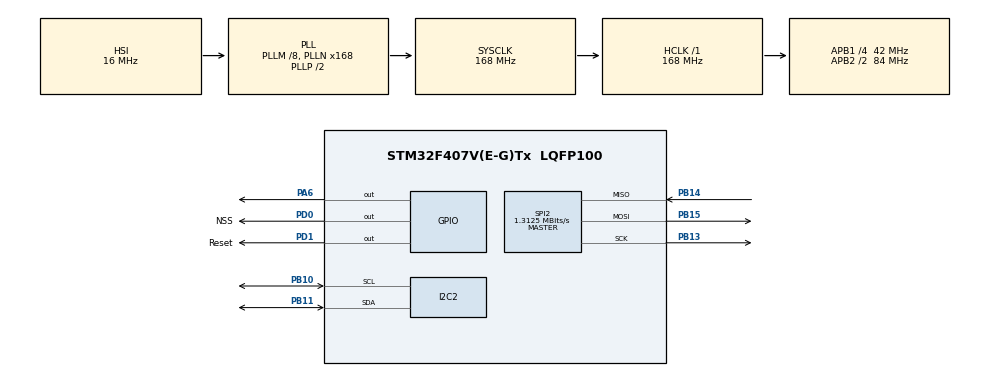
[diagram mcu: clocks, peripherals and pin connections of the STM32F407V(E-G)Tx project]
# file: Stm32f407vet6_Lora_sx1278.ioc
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Mcu.Family=STM32F4
Mcu.Name=STM32F407V(E-G)Tx
Mcu.Package=LQFP100
NVIC.PriorityGroup=NVIC_PRIORITYGROUP_4
PA13.Mode=Serial_Wire
PA13.Signal=SYS_JTMS-SWDIO
PA14.Mode=Serial_Wire
PA14.Signal=SYS_JTCK-SWCLK
PA6.PinState=GPIO_PIN_SET
PA6.Signal=GPIO_Output
PB10.Mode=I2C
PB10.Signal=I2C2_SCL
PB11.Mode=I2C
PB11.Signal=I2C2_SDA
PB13.Mode=Full_Duplex_Master
PB13.Signal=SPI2_SCK
PB14.Mode=Full_Duplex_Master
PB14.Signal=SPI2_MISO
PB15.Mode=Full_Duplex_Master
PB15.Signal=SPI2_MOSI
PD0.GPIO_Label=NSS
PD0.GPIO_Speed=GPIO_SPEED_FREQ_HIGH
PD0.PinState=GPIO_PIN_SET
PD0.Signal=GPIO_Output
PD1.GPIO_Label=Reset
PD1.GPIO_Speed=GPIO_SPEED_FREQ_HIGH
PD1.PinState=GPIO_PIN_SET
PD1.Signal=GPIO_Output
PH0-OSC_IN.Mode=HSE-External-Oscillator
PH0-OSC_IN.Signal=RCC_OSC_IN
PH1-OSC_OUT.Mode=HSE-External-Oscillator
PH1-OSC_OUT.Signal=RCC_OSC_OUT
ProjectManager.HeapSize=0x200
ProjectManager.StackSize=0x400
ProjectManager.TargetToolchain=MDK-ARM V5.32
RCC.48MHZClocksFreq_Value=84000000
RCC.AHBFreq_Value=168000000
RCC.APB1CLKDivider=RCC_HCLK_DIV4
RCC.APB1Freq_Value=42000000
RCC.APB1TimFreq_Value=84000000
RCC.APB2CLKDivider=RCC_HCLK_DIV2
RCC.APB2Freq_Value=84000000
RCC.APB2TimFreq_Value=168000000
RCC.CortexFreq_Value=168000000
RCC.HCLKFreq_Value=168000000
RCC.HSE_VALUE=8000000
RCC.HSI_VALUE=16000000
RCC.LSE_VALUE=32768
RCC.PLLM=8
RCC.PLLN=168
RCC.SYSCLKFreq_VALUE=168000000
RCC.SYSCLKSource=RCC_SYSCLKSOURCE_PLLCLK
RCC.VCOOutputFreq_Value=336000000
SPI2.BaudRatePrescaler=SPI_BAUDRATEPRESCALER_32
SPI2.CalculateBaudRate=1.3125 MBits/s
SPI2.Direction=SPI_DIRECTION_2LINES
SPI2.Mode=SPI_MODE_MASTER
SPI2.VirtualType=VM_MASTER
board=custom

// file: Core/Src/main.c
/* USER CODE BEGIN Header */
/**
  ******************************************************************************
  * @file           : main.c
  * @brief          : Main program body
  ******************************************************************************
  * @attention
  *
  * Copyright (c) 2025 STMicroelectronics.
  * All rights reserved.
  *
  * This software is licensed under terms that can be found in the LICENSE file
  * in the root directory of this software component.
  * If no LICENSE file comes with this software, it is provided AS-IS.
  *
  ******************************************************************************
  */
/* USER CODE END Header */
#include "main.h"

/* USER CODE BEGIN Includes */
#include "SX1278.h"
#include "AHT10.h"
/* USER CODE END Includes */

I2C_HandleTypeDef hi2c2;

SPI_HandleTypeDef hspi2;

/* USER CODE BEGIN PV */
typedef struct __attribute__((packed))
{
		uint8_t node_id;
	  uint16_t TempleScale;
	  uint16_t HumiScale;
	  uint8_t CheckSum;

} LoraPacket;
float temperature = 0;
float humidity = 0;
SX1278_t sx1278;
uint8_t tx_data[] = {0x01,0x02,0x03};
/* USER CODE END PV */

void SystemClock_Config(void);
static void MX_GPIO_Init(void);
static void MX_SPI2_Init(void);
static void MX_I2C2_Init(void);

/* USER CODE BEGIN 0 */
uint8_t CaculateCheckSum(uint8_t *data, uint8_t len);
/* USER CODE END 0 */

int main(void)
{

  /* MCU Configuration--------------------------------------------------------*/

  /* Reset of all peripherals, Initializes the Flash interface and the Systick. */
  HAL_Init();

  /* Configure the system clock */
  SystemClock_Config();

  /* Initialize all configured peripherals */
  MX_GPIO_Init();
  MX_SPI2_Init();
  MX_I2C2_Init();
  /* USER CODE BEGIN 2 */
  sx1278.hspi = &hspi2;
  sx1278.Nss_Port = NSS_GPIO_Port;
  sx1278.Nss_Pin  = NSS_Pin;
  sx1278.RESET_Port = Reset_GPIO_Port;
  sx1278.RESET_Pin = Reset_Pin;
  SX1278_InitTx(&sx1278);
	AHT10_Init();
  /* USER CODE END 2 */

  /* Infinite loop */
  while (1)
  {

    /* USER CODE BEGIN 3 */
		if(AHT10_ReadData(&humidity,&temperature) == 0);
		{
			  LoraPacket packet;
			packet.node_id = 0x01;
			packet.HumiScale   = (uint16_t)(humidity * 100);
			packet.TempleScale = (uint16_t)(temperature * 100);
			packet.CheckSum = CaculateCheckSum((uint8_t*)&packet, sizeof(LoraPacket));

			SX1278_Transmit(&sx1278, (uint8_t*)&packet, sizeof(LoraPacket));
      HAL_GPIO_TogglePin(GPIOA, GPIO_PIN_6);
      HAL_Delay(3000); // Gửi mỗi 1 giây
		}
  }
  /* USER CODE END 3 */
}

void SystemClock_Config(void)
{
  RCC_OscInitTypeDef RCC_OscInitStruct = {0};
  RCC_ClkInitTypeDef RCC_ClkInitStruct = {0};

  /** Configure the main internal regulator output voltage
  */
  __HAL_RCC_PWR_CLK_ENABLE();
  __HAL_PWR_VOLTAGESCALING_CONFIG(PWR_REGULATOR_VOLTAGE_SCALE1);

  /** Initializes the RCC Oscillators according to the specified parameters
  * in the RCC_OscInitTypeDef structure.
  */
  RCC_OscInitStruct.OscillatorType = RCC_OSCILLATORTYPE_HSI;
  RCC_OscInitStruct.HSIState = RCC_HSI_ON;
  RCC_OscInitStruct.HSICalibrationValue = RCC_HSICALIBRATION_DEFAULT;
  RCC_OscInitStruct.PLL.PLLState = RCC_PLL_ON;
  RCC_OscInitStruct.PLL.PLLSource = RCC_PLLSOURCE_HSI;
  RCC_OscInitStruct.PLL.PLLM = 8;
  RCC_OscInitStruct.PLL.PLLN = 168;
  RCC_OscInitStruct.PLL.PLLP = RCC_PLLP_DIV2;
  RCC_OscInitStruct.PLL.PLLQ = 4;
  if (HAL_RCC_OscConfig(&RCC_OscInitStruct) != HAL_OK)
  {
    Error_Handler();
  }

  /** Initializes the CPU, AHB and APB buses clocks
  */
  RCC_ClkInitStruct.ClockType = RCC_CLOCKTYPE_HCLK|RCC_CLOCKTYPE_SYSCLK
                              |RCC_CLOCKTYPE_PCLK1|RCC_CLOCKTYPE_PCLK2;
  RCC_ClkInitStruct.SYSCLKSource = RCC_SYSCLKSOURCE_PLLCLK;
  RCC_ClkInitStruct.AHBCLKDivider = RCC_SYSCLK_DIV1;
  RCC_ClkInitStruct.APB1CLKDivider = RCC_HCLK_DIV4;
  RCC_ClkInitStruct.APB2CLKDivider = RCC_HCLK_DIV2;

  if (HAL_RCC_ClockConfig(&RCC_ClkInitStruct, FLASH_LATENCY_5) != HAL_OK)
  {
    Error_Handler();
  }
}

static void MX_I2C2_Init(void)
{

  hi2c2.Instance = I2C2;
  hi2c2.Init.ClockSpeed = 100000;
  hi2c2.Init.DutyCycle = I2C_DUTYCYCLE_2;
  hi2c2.Init.OwnAddress1 = 0;
  hi2c2.Init.AddressingMode = I2C_ADDRESSINGMODE_7BIT;
  hi2c2.Init.DualAddressMode = I2C_DUALADDRESS_DISABLE;
  hi2c2.Init.OwnAddress2 = 0;
  hi2c2.Init.GeneralCallMode = I2C_GENERALCALL_DISABLE;
  hi2c2.Init.NoStretchMode = I2C_NOSTRETCH_DISABLE;
  if (HAL_I2C_Init(&hi2c2) != HAL_OK)
  {
    Error_Handler();
  }

}

static void MX_SPI2_Init(void)
{

  /* SPI2 parameter configuration*/
  hspi2.Instance = SPI2;
  hspi2.Init.Mode = SPI_MODE_MASTER;
  hspi2.Init.Direction = SPI_DIRECTION_2LINES;
  hspi2.Init.DataSize = SPI_DATASIZE_8BIT;
  hspi2.Init.CLKPolarity = SPI_POLARITY_LOW;
  hspi2.Init.CLKPhase = SPI_PHASE_1EDGE;
  hspi2.Init.NSS = SPI_NSS_SOFT;
  hspi2.Init.BaudRatePrescaler = SPI_BAUDRATEPRESCALER_32;
  hspi2.Init.FirstBit = SPI_FIRSTBIT_MSB;
  hspi2.Init.TIMode = SPI_TIMODE_DISABLE;
  hspi2.Init.CRCCalculation = SPI_CRCCALCULATION_DISABLE;
  hspi2.Init.CRCPolynomial = 10;
  if (HAL_SPI_Init(&hspi2) != HAL_OK)
  {
    Error_Handler();
  }

}

static void MX_GPIO_Init(void)
{
  GPIO_InitTypeDef GPIO_InitStruct = {0};

  /* GPIO Ports Clock Enable */
  __HAL_RCC_GPIOH_CLK_ENABLE();
  __HAL_RCC_GPIOA_CLK_ENABLE();
  __HAL_RCC_GPIOB_CLK_ENABLE();
  __HAL_RCC_GPIOD_CLK_ENABLE();

  /*Configure GPIO pin Output Level */
  HAL_GPIO_WritePin(GPIOA, GPIO_PIN_6, GPIO_PIN_SET);

  /*Configure GPIO pin Output Level */
  HAL_GPIO_WritePin(GPIOD, NSS_Pin|Reset_Pin, GPIO_PIN_SET);

  /*Configure GPIO pin : PA6 */
  GPIO_InitStruct.Pin = GPIO_PIN_6;
  GPIO_InitStruct.Mode = GPIO_MODE_OUTPUT_PP;
  GPIO_InitStruct.Pull = GPIO_NOPULL;
  GPIO_InitStruct.Speed = GPIO_SPEED_FREQ_LOW;
  HAL_GPIO_Init(GPIOA, &GPIO_InitStruct);

  /*Configure GPIO pins : NSS_Pin Reset_Pin */
  GPIO_InitStruct.Pin = NSS_Pin|Reset_Pin;
  GPIO_InitStruct.Mode = GPIO_MODE_OUTPUT_PP;
  GPIO_InitStruct.Pull = GPIO_NOPULL;
  GPIO_InitStruct.Speed = GPIO_SPEED_FREQ_HIGH;
  HAL_GPIO_Init(GPIOD, &GPIO_InitStruct);

}

/* USER CODE BEGIN 4 */
uint8_t CaculateCheckSum(uint8_t *data, uint8_t len)
{
	  uint8_t sum = 0;
	for(uint8_t i =0; i < len; i++)
	{
		  sum+= data[i];
	}
	return sum;
}
/* USER CODE END 4 */

void Error_Handler(void)
{
  __disable_irq();
  while (1)
  {
  }
}
